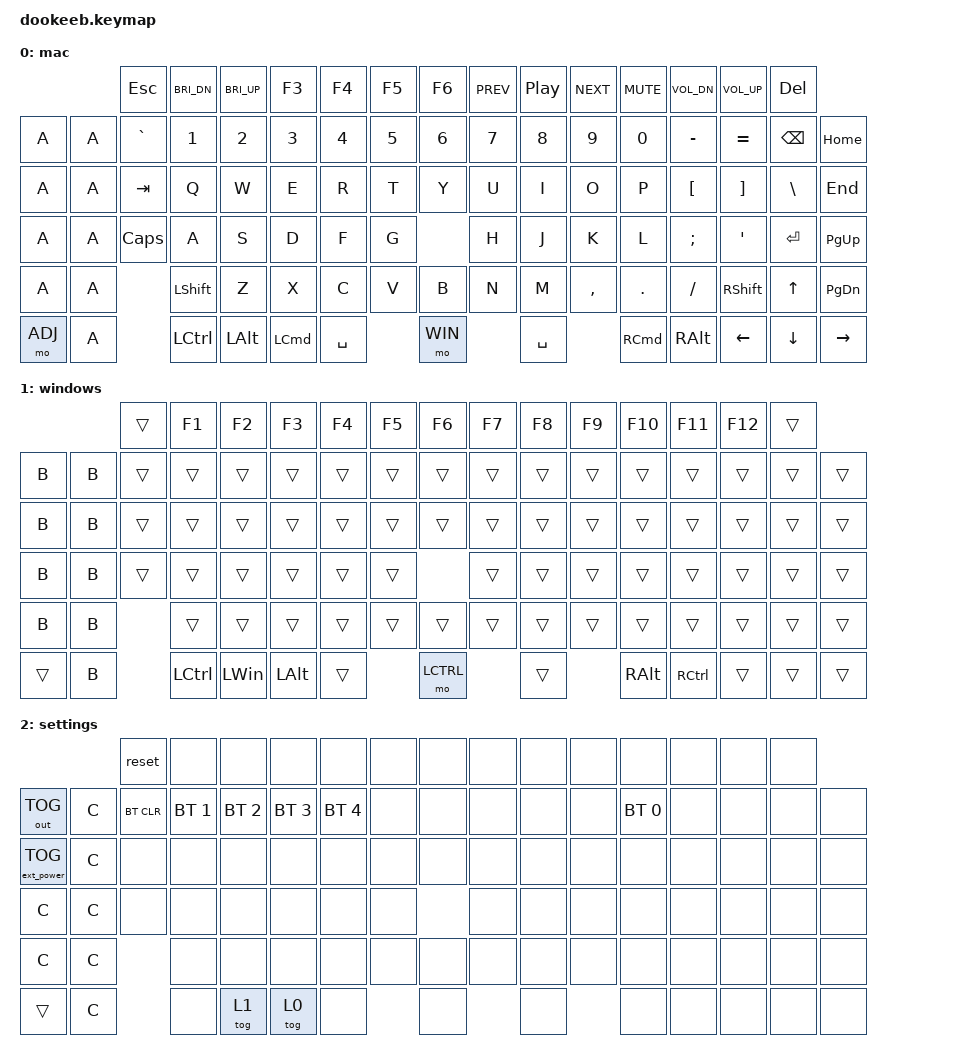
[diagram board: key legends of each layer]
/*
 * Copyright (c) 2020 The ZMK Contributors
 *
 * SPDX-License-Identifier: MIT
 */

#include <behaviors.dtsi>
#include <dt-bindings/zmk/keys.h>
#include <dt-bindings/zmk/bt.h>
#include <dt-bindings/zmk/ext_power.h>
#include <dt-bindings/zmk/outputs.h>

#define MAC 0
#define WIN 1
#define ADJ 2

/ {
	keymap {
		compatible = "zmk,keymap";

//            ______________________________         ______________________________
// __________|esc||bup|bdn| f3| f4|| f5| f6|         | ⏪| ⏸|| ⏩| 🔇| 🔈-| 🔈+||del|___  // Media key support is in progress, and may not work
// | a | a | | ` | 1 | 2 | 3 | 4 | 5 | 6 |         | 7 | 8 | 9 | 0 | - | = |  bsp  |hom|
// | a | a | | tab | q | w | e | r | t |         | y | u | i | o | p | [ | ] |  \  |end|
// | a | a | |  cap | a | s | d | f | g |         | h | j | k | l | ; | ' |   ent  |pgu|
// | a | a | |   shf  | z | x | c | v | b |         | n | m | , | . | / |  shf | ua|pgd|
// |ADJ| a | | ctl| alt| cmd|   spc  | WIN|         |    spc   | cmd| alt| | la| da| ra|
		mac_layer {
			label = "mac";
			bindings = <
               &kp ESC   &kp C_BRI_DN &kp C_BRI_UP &kp F3   &kp F4    &kp F5 &kp F6            &kp C_PREV &kp C_PP  &kp C_NEXT &kp K_MUTE &kp C_VOL_DN &kp C_VOL_UP &kp DEL 
&kp A   &kp A  &kp GRAVE &kp N1       &kp N2       &kp N3   &kp N4    &kp N5 &kp N6            &kp N7     &kp N8    &kp N9     &kp N0     &kp MINUS    &kp EQUAL    &kp BSPC &kp HOME
&kp A   &kp A            &kp TAB      &kp Q        &kp W    &kp E     &kp R  &kp T       &kp Y &kp U      &kp I     &kp O      &kp P      &kp LBKT     &kp RBKT     &kp BSLH &kp END 
&kp A   &kp A            &kp CAPS     &kp A        &kp S    &kp D     &kp F  &kp G       &kp H &kp J      &kp K     &kp L      &kp SEMI   &kp APOS                  &kp RET  &kp PG_UP 
&kp A   &kp A            &kp LSHFT    &kp Z        &kp X    &kp C     &kp V  &kp B             &kp N      &kp M     &kp COMMA  &kp DOT    &kp FSLH     &kp RSHFT    &kp UP   &kp PG_DN 
&mo ADJ &kp A            &kp LCTRL    &kp LALT     &kp LCMD &kp SPACE        &mo WIN                      &kp SPACE            &kp RCMD   &kp RALT     &kp LEFT     &kp DOWN &kp RIGHT
			>;
		};

//            _____________________________           _____________________________
//  _______  |   || f1| f2| f3| f4|| f5| f6|         | f7| f8|| f9|f10|f11|f12||   |___
// | b | b | |   |   |   |   |   |   |   |         |   |   |   |   |   |   |       |   |
// | b | b | |     |   |   |   |   |   |         |   |   |   |   |   |   |   |     |   |
// | b | b | |      |   |   |   |   |   |         |   |   |   |   |   |   |        |   |
// | b | b | |        |   |   |   |   |   |         |   |   |   |   |   |      |   |   |
// |   | b | | ctl| win| alt|        | MAC|         |          | alt| ctl| |   |   |   | // toggle to MAC layer for maybe media key support
		win_layer {
			label = "windows";
			bindings = <
              &trans &kp F1    &kp F2   &kp F3   &kp F4  &kp F5  &kp F6              &kp F7  &kp F8 &kp F9 &kp F10  &kp F11   &kp F12 &trans 
&kp B  &kp B  &trans &trans    &trans   &trans   &trans  &trans  &trans              &trans  &trans &trans &trans   &trans    &trans  &trans  &trans
&kp B  &kp B         &trans    &trans   &trans   &trans  &trans  &trans      &trans  &trans  &trans &trans &trans   &trans    &trans  &trans  &trans
&kp B  &kp B         &trans    &trans   &trans   &trans  &trans  &trans      &trans  &trans  &trans &trans &trans   &trans            &trans  &trans 
&kp B  &kp B         &trans    &trans   &trans   &trans  &trans  &trans              &trans  &trans &trans &trans   &trans    &trans  &trans  &trans 
&trans &kp B         &kp LCTRL &kp LWIN &kp LALT &trans          &mo LCTRL                   &trans        &kp RALT &kp RCTRL &trans  &trans  &trans
			>;
		};
		
//            ______________________________         ______________________________
// __________|rst|| x | x | x | x || x | x |         | x | x || x | x | x | x || x |___
// |OUT| c | |btc|bt1|bt2|bt3|bt4| x | x |         | x | x | x | x | x |bt0|   x   | x |
// |EXT| c | |  x  | x | x | x | x | x |         | x | x | x | x | x | x | x |  x  | x |
// | c | c | |   x  | x | x | x | x | x |         | x | x | x | x | x | x |    x   | x |
// | c | c | |    x   | x | x | x | x | x |         | x | x | x | x | x |   x  | x | x |
// | c | c | |  x | to1| to2|    x   |  x |         |     x    |  x |  x | | x | x | x |
		adjust_layer {
			label = "settings";
			bindings = <
                         &reset     &none        &none         &none         &none        &none &none            &none &none &none &none        &none &none &none
&out OUT_TOG      &kp C  &bt BT_CLR &bt BT_SEL 1  &bt BT_SEL 2  &bt BT_SEL 3 &bt BT_SEL 4 &none &none            &none &none &none &bt BT_SEL 0 &none &none &none &none
&ext_power EP_TOG &kp C             &none        &none         &none         &none        &none &none      &none &none &none &none &none        &none &none &none &none
&kp C             &kp C             &none        &none         &none         &none        &none &none      &none &none &none &none &none        &none       &none &none 
&kp C             &kp C             &none        &none         &none         &none        &none &none            &none &none &none &none        &none &none &none &none 
&trans           &kp C             &none        &tog 1        &tog 0        &none              &none                  &none       &none        &none &none &none &none
			>;
		};
	};
};

//            _____________________________           _____________________________
//  _______  | x || x | x | x | x || x | x |         | x | x || x | x | x | x || x |___
// | x | x | | x | x | x | x | x | x | x |         | x | x | x | x | x | x |   x   | x |
// | x | x | |  x  | x | x | x | x | x |         | x | x | x | x | x | x | x |  x  | x |
// | x | x | |   x  | x | x | x | x | x |         | x | x | x | x | x | x |    x   | x |
// | x | x | |    x   | x | x | x | x | x |         | x | x | x | x | x |   x  | x | x |
// | x | x | |  x |  x |  x |    x   |  x |         |     x    |  x |  x | | x | x | x |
